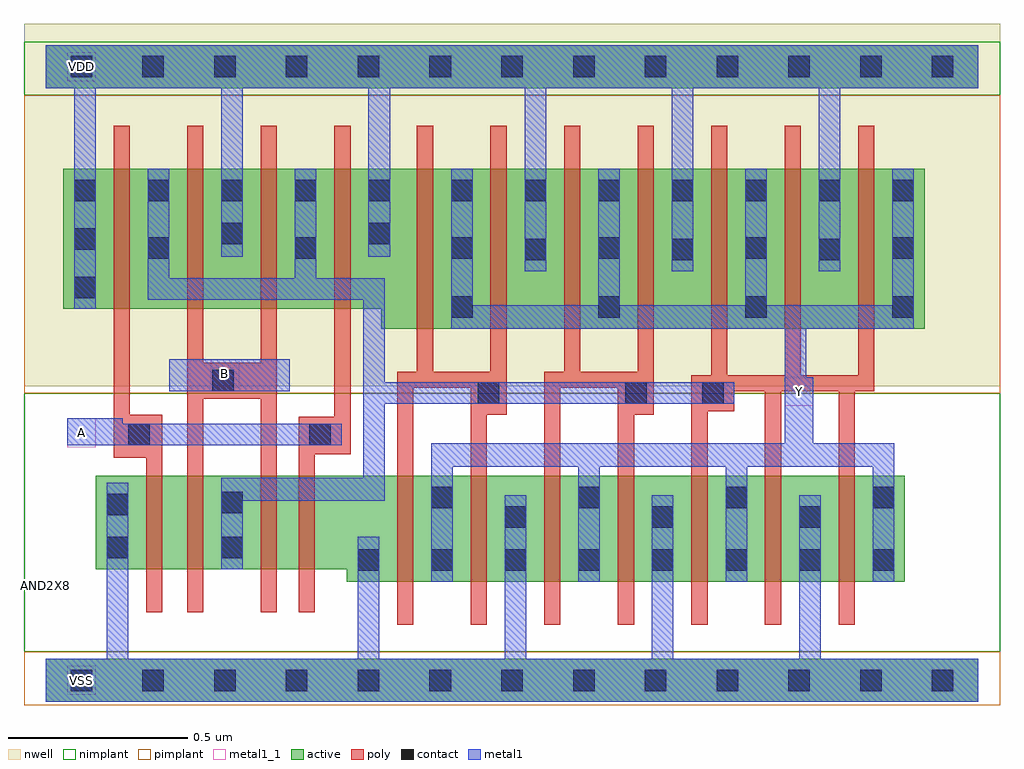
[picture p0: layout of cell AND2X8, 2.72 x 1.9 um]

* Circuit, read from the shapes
.subckt AND2X8 A B VDD VSS Y
M1 n1 A VSS VSS nfet w=0.26u l=0.045u
M2 n2 B n1 VSS nfet w=0.26u l=0.045u
M3 n3 B n2 VSS nfet w=0.26u l=0.045u
M4 VSS A n3 VSS nfet w=0.26u l=0.045u
M5 Y n2 VSS VSS nfet w=0.295u l=0.045u m=7
M6 n2 A VDD VDD pfet w=0.39u l=0.045u m=2
M7 VDD B n2 VDD pfet w=0.39u l=0.045u m=2
M8 Y n2 VDD VDD pfet w=0.445u l=0.045u m=7
.ends

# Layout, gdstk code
import gdstk
lib = gdstk.Library(unit=1e-6, precision=5e-10)
def R(c, l, rs):  # rectangles x0, y0, x1, y1
    for r in rs: c.add(gdstk.rectangle(r[:2], r[2:], *l))
def A(c, l, x, y, w, h, nx, ny, dx, dy):  # array of equal rectangles
    R(c, l, [(x+i*dx, y+j*dy, x+i*dx+w, y+j*dy+h) for i in range(nx) for j in range(ny)])
def P(c, l, *ps):  # polygons
    for p in ps: c.add(gdstk.Polygon(p, *l))
active = (1, 0)
nwell = (2, 0)
poly = (3, 0)
nimplant = (4, 0)
pimplant = (5, 0)
contact = (6, 0)
metal1 = (7, 0)
metal1_1 = (7, 1)

and2x8 = lib.new_cell('AND2X8')
R(and2x8, active, [(0,-0.06,2.6,0.06), (0,1.65,2.6,1.77)])
P(and2x8, active, [(0.05,1.425),(2.45,1.425),(2.45,0.98),(0.935,0.98),(0.935,1.035),(0.05,1.035)],
  [(0.14,0.57),(2.395,0.57),(2.395,0.275),(0.84,0.275),(0.84,0.31),(0.14,0.31)])
R(and2x8, nwell, [(-0.06,0.82,2.66,1.83)])
P(and2x8, poly, [(0.19,1.545),(0.235,1.545),(0.235,0.74),(0.325,0.74),(0.325,0.19),(0.28,0.19),(0.28,0.62),(0.19,0.62)],
  [(0.395,1.545),(0.44,1.545),(0.44,0.885),(0.6,0.885),(0.6,1.545),(0.645,1.545),(0.645,0.19),(0.6,0.19),(0.6,0.785),(0.44,0.785),(0.44,0.19),(0.395,0.19)],
  [(0.805,1.545),(0.85,1.545),(0.85,0.63),(0.75,0.63),(0.75,0.19),(0.705,0.19),(0.705,0.735),(0.805,0.735)],
  [(1.035,1.545),(1.08,1.545),(1.08,0.86),(1.24,0.86),(1.24,1.545),(1.285,1.545),(1.285,0.74),(1.23,0.74),(1.23,0.155),(1.185,0.155),(1.185,0.815),(1.025,0.815),(1.025,0.155),(0.98,0.155),(0.98,0.86),(1.035,0.86)],
  [(1.445,1.545),(1.49,1.545),(1.49,0.86),(1.65,0.86),(1.65,1.545),(1.695,1.545),(1.695,0.74),(1.64,0.74),(1.64,0.155),(1.595,0.155),(1.595,0.815),(1.435,0.815),(1.435,0.155),(1.39,0.155),(1.39,0.86),(1.445,0.86)],
  [(1.855,1.545),(1.9,1.545),(1.9,0.85),(2.06,0.85),(2.06,1.545),(2.105,1.545),(2.105,0.85),(2.265,0.85),(2.265,1.545),(2.31,1.545),(2.31,0.805),(2.255,0.805),(2.255,0.155),(2.21,0.155),(2.21,0.805),(2.05,0.805),(2.05,0.155),(2.005,0.155),(2.005,0.805),(1.92,0.805),(1.92,0.75),(1.845,0.75),(1.845,0.155),(1.8,0.155),(1.8,0.85),(1.855,0.85)])
R(and2x8, nimplant, [(-0.06,0.08,2.66,0.8), (-0.06,1.63,2.66,1.78)])
R(and2x8, pimplant, [(-0.06,-0.07,2.66,0.08), (-0.06,0.8,2.66,1.63)])
A(and2x8, contact, 0.07, -0.03, 0.06, 0.06, 13, 2, 0.2, 1.71)
A(and2x8, contact, 0.87, 0.305, 0.06, 0.06, 8, 1, 0.205, 0)
A(and2x8, contact, 1.28, 0.425, 0.06, 0.06, 3, 1, 0.41, 0)
A(and2x8, contact, 1.075, 0.48, 0.06, 0.06, 4, 1, 0.41, 0)
A(and2x8, contact, 1.13, 1.01, 0.06, 0.06, 4, 2, 0.41, 0.165)
A(and2x8, contact, 1.335, 1.17, 0.06, 0.06, 3, 1, 0.41, 0)
A(and2x8, contact, 0.08, 1.335, 0.06, 0.06, 5, 1, 0.205, 0)
A(and2x8, contact, 1.13, 1.335, 0.06, 0.06, 7, 1, 0.205, 0)
R(and2x8, contact, [(0.17,0.34,0.23,0.4), (0.49,0.34,0.55,0.4), (0.17,0.46,0.23,0.52), (0.49,0.465,0.55,0.525), (0.23,0.655,0.29,0.715), (0.735,0.655,0.795,0.715), (1.205,0.77,1.265,0.83), (1.615,0.77,1.675,0.83), (1.83,0.77,1.89,0.83), (0.465,0.805,0.525,0.865), (0.08,1.065,0.14,1.125), (0.285,1.175,0.345,1.235), (0.695,1.175,0.755,1.235), (0.08,1.2,0.14,1.26), (0.49,1.215,0.55,1.275), (0.9,1.215,0.96,1.275)])
R(and2x8, metal1, [(0.345,0.805,0.68,0.895)])
P(and2x8, metal1, [(2.6,0.06),(2.16,0.06),(2.16,0.515),(2.1,0.515),(2.1,0.06),(1.75,0.06),(1.75,0.515),(1.69,0.515),(1.69,0.06),(1.34,0.06),(1.34,0.515),(1.28,0.515),(1.28,0.06),(0.93,0.06),(0.93,0.4),(0.87,0.4),(0.87,0.06),(0.23,0.06),(0.23,0.55),(0.17,0.55),(0.17,0.06),(0,0.06),(0,-0.06),(2.6,-0.06)],
  [(2.6,1.77),(0,1.77),(0,1.65),(0.08,1.65),(0.08,1.035),(0.14,1.035),(0.14,1.65),(0.49,1.65),(0.49,1.18),(0.55,1.18),(0.55,1.65),(0.9,1.65),(0.9,1.18),(0.96,1.18),(0.96,1.65),(1.335,1.65),(1.335,1.14),(1.395,1.14),(1.395,1.65),(1.745,1.65),(1.745,1.14),(1.805,1.14),(1.805,1.65),(2.155,1.65),(2.155,1.14),(2.215,1.14),(2.215,1.65),(2.6,1.65)],
  [(2.42,1.425),(2.36,1.425),(2.36,1.045),(2.01,1.045),(2.01,1.425),(1.95,1.425),(1.95,1.045),(1.6,1.045),(1.6,1.425),(1.54,1.425),(1.54,1.045),(1.19,1.045),(1.19,1.425),(1.13,1.425),(1.13,0.98),(2.06,0.98),(2.06,0.66),(1.075,0.66),(1.075,0.275),(1.135,0.275),(1.135,0.595),(1.485,0.595),(1.485,0.275),(1.545,0.275),(1.545,0.595),(1.895,0.595),(1.895,0.275),(1.955,0.275),(1.955,0.595),(2.305,0.595),(2.305,0.275),(2.365,0.275),(2.365,0.66),(2.14,0.66),(2.14,0.845),(2.12,0.845),(2.12,0.98),(2.42,0.98)],
  [(1.92,0.83),(0.945,0.83),(0.945,1.12),(0.755,1.12),(0.755,1.425),(0.695,1.425),(0.695,1.12),(0.345,1.12),(0.345,1.425),(0.285,1.425),(0.285,1.06),(0.885,1.06),(0.885,0.565),(0.49,0.565),(0.49,0.31),(0.55,0.31),(0.55,0.5),(0.945,0.5),(0.945,0.77),(1.92,0.77)],
  [(0.825,0.715),(0.215,0.715),(0.215,0.73),(0.06,0.73),(0.06,0.655),(0.825,0.655)])
R(and2x8, metal1_1, [(0.06,-0.04,0.14,0.04), (0.06,0.65,0.14,0.73), (2.06,0.765,2.14,0.845), (0.46,0.815,0.54,0.895), (0.06,1.67,0.14,1.75)])
and2x8.add(gdstk.Label('VSS', (0.1,0), layer=7, texttype=1))
and2x8.add(gdstk.Label('Y', (2.1,0.805), layer=7, texttype=1))
and2x8.add(gdstk.Label('B', (0.5,0.855), layer=7, texttype=1))
and2x8.add(gdstk.Label('A', (0.1,0.69), layer=7, texttype=1))
and2x8.add(gdstk.Label('VDD', (0.1,1.71), layer=7, texttype=1))
and2x8.add(gdstk.Label('AND2X8', (0,0.265), layer=63, texttype=0))

lib.write_gds('AND2X8.gds')
